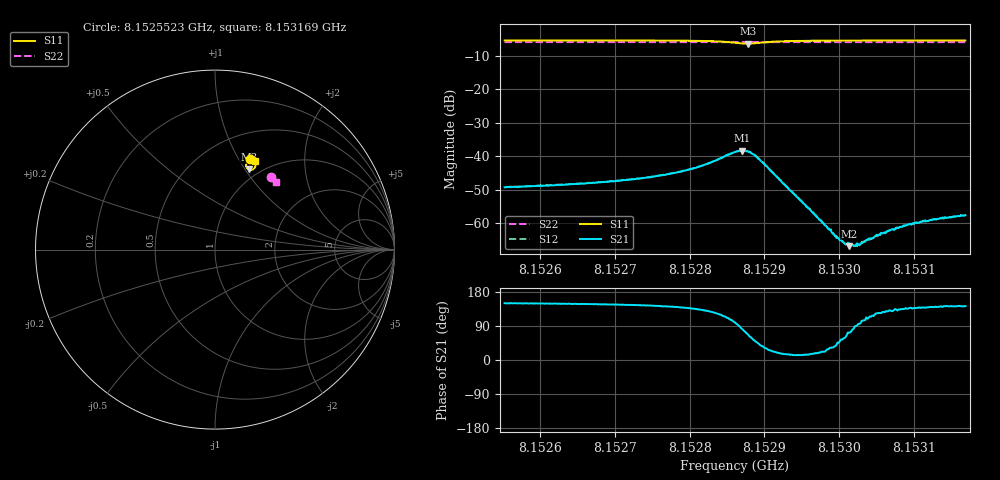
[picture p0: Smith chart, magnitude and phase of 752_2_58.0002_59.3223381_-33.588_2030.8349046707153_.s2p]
#  HZ  S  RI  R  50.00
! Rohde & Schwarz Vector Network Analyzer
! Rohde-Schwarz,ZNB20-2Port,1311601062101988,3.16
! Created: UTC 3/21/2024, 1:24:02 AM
! freq[Hz]  re:S11  im:S11  re:S21  im:S21  re:S12  im:S12  re:S22  im:S22
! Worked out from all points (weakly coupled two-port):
!   401 points, 8.1525523 GHz to 8.153169 GHz, reference 50 ohm
!   highest |S21| = -38.34 dB at 8.1528699 GHz (marker M1); lowest = -66.9 dB at 8.1530133 GHz (marker M2)
!   lowest |S11| = -6.3 dB at 8.1528776 GHz (marker M3), VSWR 2.88, Z = 44.5 + j52 ohm
!   |S11| at or under -10 dB: nowhere
!   |S22| runs from -5.9 to -5.8 dB; largest |S21 - S12| = 0.00042
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8.15255235e9  0.1929 0.5049  -0.00295 0.00171  -0.00297 0.00177  0.3127 0.4038
8.15265564e9  0.2016 0.5012  -0.00327 0.00206  -0.00327 0.00209  0.3181 0.3998
8.15271114e9  0.2071 0.4984  -0.00362 0.00246  -0.0036 0.00254  0.3207 0.3974
8.15275893e9  0.2129 0.4948  -0.00403 0.00309  -0.00405 0.00318  0.323 0.3953
8.1528098e9  0.2215 0.4857  -0.00475 0.00488  -0.00469 0.00495  0.3255 0.3926
8.15286068e9  0.2164 0.4506  -0.00174 0.0114  -0.0016 0.0114  0.3272 0.3896
8.15286993e9  0.2024 0.4444  0.00159 0.012  0.00151 0.0121  0.327 0.3893
8.15287764e9  0.1879 0.4468  0.0044 0.0109  0.00442 0.011  0.3268 0.389
8.1528838e9  0.1788 0.4538  0.006 0.00905  0.00613 0.00909  0.3268 0.3894
8.15289305e9  0.1728 0.4676  0.00672 0.00606  0.00696 0.00595  0.3272 0.3896
8.15291926e9  0.1819 0.4907  0.00431 0.00145  0.00443 0.00143  0.3293 0.3893
8.15296397e9  0.1978 0.4974  0.00139 0.0004  0.00143 0.000371  0.332 0.3875
8.15299788e9  0.2045 0.4975  0.000415 0.000428  0.000446 0.000402  0.3338 0.386
8.15300713e9  0.206 0.4974  0.000261 0.000414  0.000282 0.000412  0.3342 0.3855
8.1530133e9  0.207 0.4972  0.000138 0.000431  0.000182 0.000462  0.3345 0.3854
8.15302255e9  0.2083 0.4969  8.85e-07 0.000472  2.31e-05 0.000456  0.335 0.3848
8.15302872e9  0.2089 0.4968  -6.33e-05 0.000487  -7.9e-05 0.000477  0.3352 0.3845
8.15303951e9  0.2103 0.4965  -0.000208 0.000538  -0.000216 0.000542  0.3359 0.3842
8.15306726e9  0.2136 0.4956  -0.000511 0.000579  -0.000483 0.000599  0.3373 0.383
8.15308884e9  0.2157 0.4952  -0.000669 0.000628  -0.000634 0.000652  0.3382 0.3821
8.15311197e9  0.2178 0.4943  -0.000785 0.000692  -0.000804 0.000715  0.3393 0.3811
8.15316901e9  0.2228 0.4926  -0.00103 0.000799  -0.00102 0.000823  0.342 0.3786
